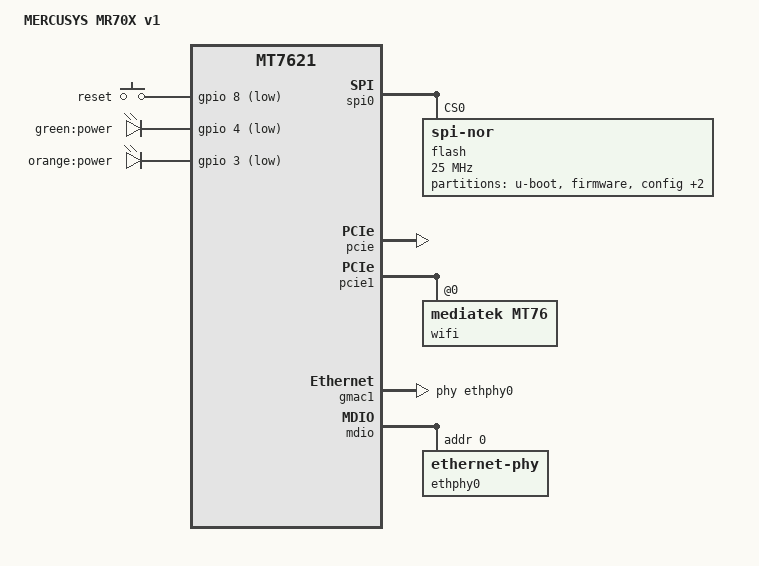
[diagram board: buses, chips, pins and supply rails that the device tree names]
// SPDX-License-Identifier: GPL-2.0-or-later OR MIT

#include "mt7621.dtsi"

#include <dt-bindings/gpio/gpio.h>
#include <dt-bindings/input/input.h>

/ {
	compatible = "mercusys,mr70x-v1", "mediatek,mt7621-soc";
	model = "MERCUSYS MR70X v1";

	aliases {
		led-boot = &led_power_green;
		led-failsafe = &led_power_orange;
		led-running = &led_power_green;
		led-upgrade = &led_power_orange;
		label-mac-device = &gmac0;
	};

	chosen {
		bootargs = "console=ttyS0,115200";
	};

	keys {
		compatible = "gpio-keys";

		reset {
			label = "reset";
			gpios = <&gpio 8 GPIO_ACTIVE_LOW>;
			linux,code = <KEY_RESTART>;
		};
	};

	leds {
		compatible = "gpio-leds";

		led_power_green: power-green {
			label = "green:power";
			gpios = <&gpio 4 GPIO_ACTIVE_LOW>;
		};

		led_power_orange: power-orange {
			label = "orange:power";
			gpios = <&gpio 3 GPIO_ACTIVE_LOW>;
		};
	};
};

&spi0 {
	status = "okay";

	flash@0 {
		compatible = "jedec,spi-nor";
		reg = <0>;
		spi-max-frequency = <25000000>;

		partitions {
			compatible = "fixed-partitions";
			#address-cells = <1>;
			#size-cells = <1>;

			partition@0 {
				label = "u-boot";
				reg = <0x000000 0x040000>;
				read-only;
			};

			partition@40000 {
				compatible = "denx,uimage";
				label = "firmware";
				reg = <0x040000 0xf60000>;
			};

			config: partition@fa0000 {
				label = "config";
				reg = <0xfa0000 0x010000>;
				read-only;

				nvmem-layout {
					compatible = "fixed-layout";
					#address-cells = <1>;
					#size-cells = <1>;

					macaddr_config_8: macaddr@8 {
						compatible = "mac-base";
						reg = <0x8 0x6>;
						#nvmem-cell-cells = <1>;
					};
				};
			};

			partition@fb0000 {
				label = "tplink";
				reg = <0xfb0000 0x040000>;
				read-only;
			};

			radio: partition@ff0000 {
				label = "radio";
				reg = <0xff0000 0x010000>;
				read-only;
			};
		};
	};
};

&pcie {
	status = "okay";
};

&pcie1 {
	wifi@0,0 {
		compatible = "mediatek,mt76";
		reg = <0x0000 0 0 0 0>;
		mediatek,mtd-eeprom = <&radio 0x0>;
		nvmem-cells = <&macaddr_config_8 0>;
		nvmem-cell-names = "mac-address";
		mediatek,disable-radar-background;
	};
};

&gmac0 {
	nvmem-cells = <&macaddr_config_8 0>;
	nvmem-cell-names = "mac-address";
};

&gmac1 {
	status = "okay";
	label = "wan";
	phy-handle = <&ethphy0>;

	nvmem-cells = <&macaddr_config_8 1>;
	nvmem-cell-names = "mac-address";
};

&mdio {
	ethphy0: ethernet-phy@0 {
		reg = <0>;
	};
};

&switch0 {
	ports {
		port@1 {
			status = "okay";
			label = "lan1";
		};

		port@2 {
			status = "okay";
			label = "lan2";
		};

		port@3 {
			status = "okay";
			label = "lan3";
		};
	};
};

&state_default {
	gpio {
		groups = "i2c", "uart3";
		function = "gpio";
	};
};
